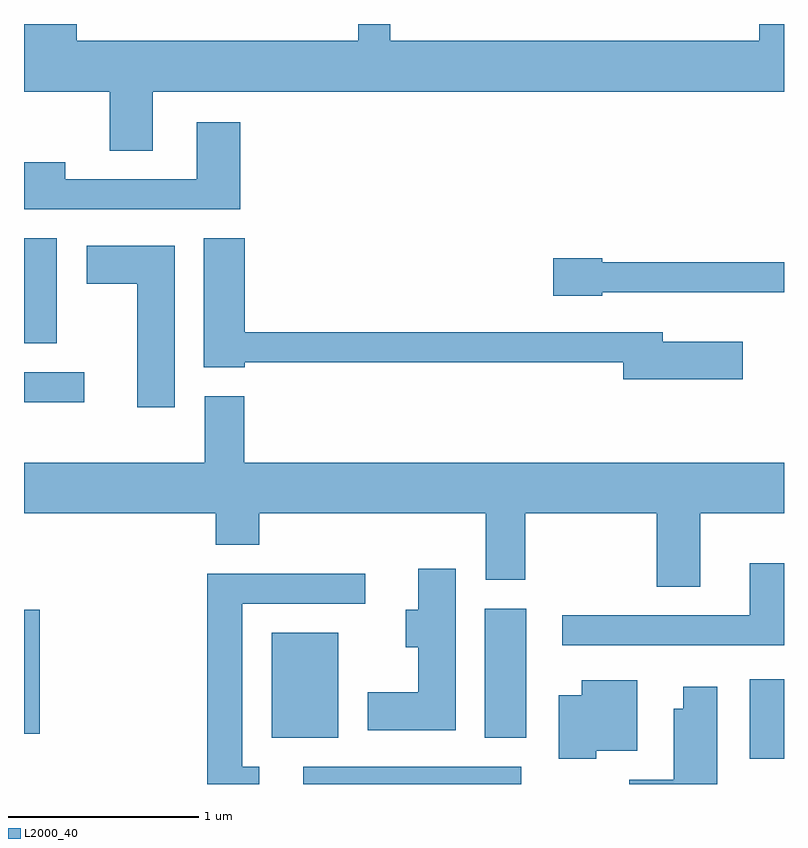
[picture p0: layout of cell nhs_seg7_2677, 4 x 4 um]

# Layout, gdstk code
import gdstk
lib = gdstk.Library(unit=1e-6, precision=1e-09)
def R(c, l, rs):  # rectangles x0, y0, x1, y1
    for r in rs: c.add(gdstk.rectangle(r[:2], r[2:], *l))
def P(c, l, *ps):  # polygons
    for p in ps: c.add(gdstk.Polygon(p, *l))
L2000_40 = (2000, 40)

nhs_seg7_2677 = lib.new_cell('nhs_seg7_2677')
R(nhs_seg7_2677, L2000_40, [(269.081,1686.252,270.229,1686.344), (271.431,1686.386,271.611,1686.804), (268.916,1686.496,269.264,1687.049), (270.036,1686.496,270.254,1687.174), (267.611,1686.516,267.694,1687.169), (267.611,1688.261,267.928,1688.419), (267.611,1688.571,267.784,1689.124)])
P(nhs_seg7_2677, L2000_40, [(268.289,1689.896),(271.611,1689.896),(271.611,1690.252),(271.481,1690.252),(271.481,1690.164),(269.539,1690.164),(269.539,1690.252),(269.371,1690.252),(269.371,1690.164),(267.889,1690.164),(267.889,1690.252),(267.611,1690.252),(267.611,1689.896),(268.061,1689.896),(268.061,1689.586),(268.289,1689.586)],
  [(268.749,1689.734),(268.521,1689.734),(268.521,1689.434),(267.829,1689.434),(267.829,1689.524),(267.611,1689.524),(267.611,1689.276),(268.749,1689.276)],
  [(271.394,1688.579),(270.974,1688.579),(270.974,1688.629),(268.774,1688.629),(268.774,1689.124),(268.556,1689.124),(268.556,1688.446),(268.774,1688.446),(268.774,1688.471),(270.766,1688.471),(270.766,1688.381),(271.394,1688.381)],
  [(268.404,1689.084),(267.941,1689.084),(267.941,1688.886),(268.206,1688.886),(268.206,1688.236),(268.404,1688.236)],
  [(270.654,1688.841),(271.611,1688.841),(271.611,1688.999),(270.654,1688.999),(270.654,1689.019),(270.396,1689.019),(270.396,1688.821),(270.654,1688.821)],
  [(271.169,1687.676),(271.611,1687.676),(271.611,1687.944),(268.769,1687.944),(268.769,1688.294),(268.561,1688.294),(268.561,1687.944),(267.611,1687.944),(267.611,1687.676),(268.621,1687.676),(268.621,1687.511),(268.849,1687.511),(268.849,1687.676),(270.041,1687.676),(270.041,1687.326),(270.249,1687.326),(270.249,1687.676),(270.941,1687.676),(270.941,1687.291),(271.169,1687.291)],
  [(271.611,1687.414),(271.431,1687.414),(271.431,1687.139),(270.443,1687.139),(270.443,1686.981),(271.611,1686.981)],
  [(269.884,1687.384),(269.686,1687.384),(269.686,1687.169),(269.621,1687.169),(269.621,1686.971),(269.686,1686.971),(269.686,1686.734),(269.421,1686.734),(269.421,1686.536),(269.884,1686.536)],
  [(268.849,1686.344),(268.759,1686.344),(268.759,1687.201),(269.408,1687.201),(269.408,1687.359),(268.576,1687.359),(268.576,1686.252),(268.849,1686.252)],
  [(270.624,1686.426),(270.839,1686.426),(270.839,1686.799),(270.546,1686.799),(270.546,1686.719),(270.426,1686.719),(270.426,1686.386),(270.624,1686.386)],
  [(271.259,1686.764),(271.081,1686.764),(271.081,1686.649),(271.031,1686.649),(271.031,1686.274),(270.796,1686.274),(270.796,1686.252),(271.259,1686.252)])

lib.write_gds('nhs_seg7_2677.gds')
